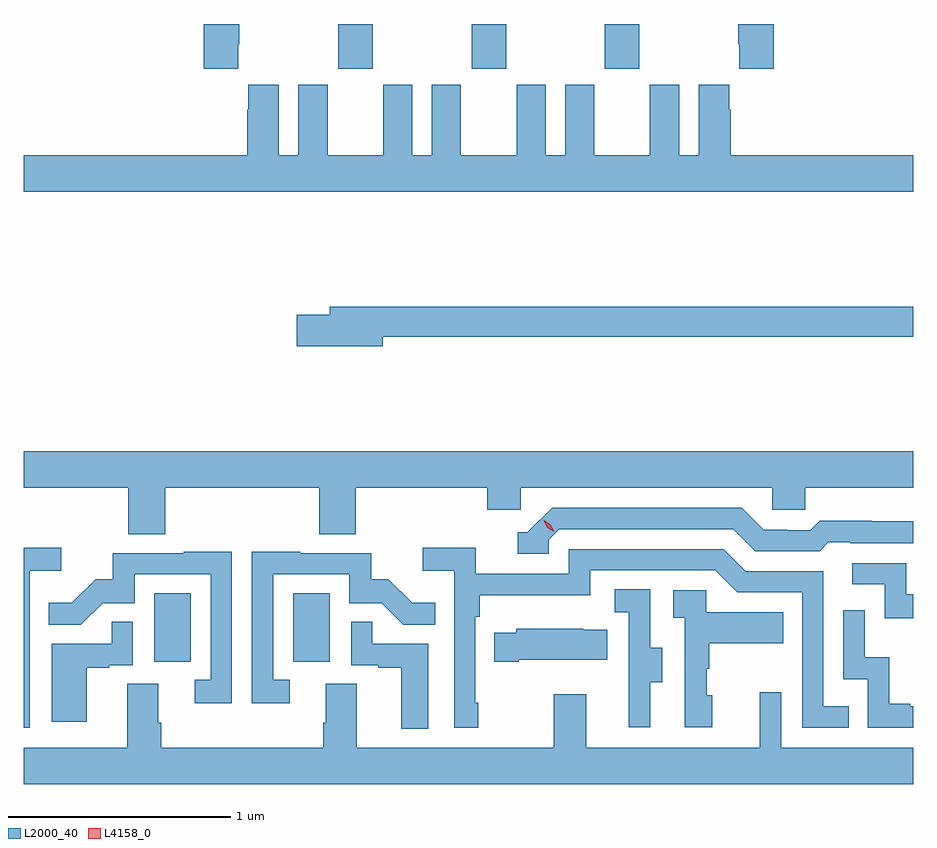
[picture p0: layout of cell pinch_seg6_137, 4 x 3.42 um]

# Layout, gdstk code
import gdstk
lib = gdstk.Library(unit=1e-6, precision=1e-09)
def R(c, l, rs):  # rectangles x0, y0, x1, y1
    for r in rs: c.add(gdstk.rectangle(r[:2], r[2:], *l))
def A(c, l, x, y, w, h, nx, ny, dx, dy):  # array of equal rectangles
    R(c, l, [(x+i*dx, y+j*dy, x+i*dx+w, y+j*dy+h) for i in range(nx) for j in range(ny)])
def P(c, l, *ps):  # polygons
    for p in ps: c.add(gdstk.Polygon(p, *l))
L2000_40 = (2000, 40)
L4158_0 = (4158, 0)

pinch_seg6_137 = lib.new_cell('pinch_seg6_137')
A(pinch_seg6_137, L2000_40, 986.479, 921.249, 0.155, 0.202, 3, 1, 0.6, 0)
R(pinch_seg6_137, L2000_40, [(985.652,918.582,985.816,918.889), (986.276,918.582,986.44,918.889)])
P(pinch_seg6_137, L2000_40, [(988.439,921.451),(988.279,921.451),(988.279,921.361),(988.283,921.361),(988.283,921.249),(988.439,921.249)],
  [(986.029,921.361),(986.034,921.361),(986.034,921.451),(985.874,921.451),(985.874,921.249),(986.029,921.249)],
  [(989.065,920.86),(988.244,920.86),(988.244,921.065),(988.237,921.065),(988.237,921.178),(988.1,921.178),(988.1,920.86),(988.012,920.86),(988.012,921.178),(987.881,921.178),(987.881,920.86),(987.631,920.86),(987.631,921.178),(987.5,921.178),(987.5,920.86),(987.412,920.86),(987.412,921.178),(987.281,921.178),(987.281,920.86),(987.031,920.86),(987.031,921.178),(986.9,921.178),(986.9,920.86),(986.812,920.86),(986.812,921.178),(986.681,921.178),(986.681,920.86),(986.431,920.86),(986.431,921.178),(986.3,921.178),(986.3,920.86),(986.212,920.86),(986.212,921.178),(986.075,921.178),(986.075,921.065),(986.069,921.065),(986.069,920.86),(985.065,920.86),(985.065,920.696),(989.065,920.696)],
  [(986.68,920.044),(989.065,920.044),(989.065,920.18),(986.441,920.18),(986.441,920.144),(986.292,920.144),(986.292,920.002),(986.68,920.002)],
  [(985.7,919.364),(986.393,919.364),(986.393,919.156),(986.558,919.156),(986.558,919.364),(987.149,919.364),(987.149,919.266),(987.3,919.266),(987.3,919.364),(988.431,919.364),(988.431,919.266),(988.581,919.266),(988.581,919.364),(989.065,919.364),(989.065,919.528),(985.065,919.528),(985.065,919.364),(985.535,919.364),(985.535,919.156),(985.7,919.156)],
  [(987.426,919.131),(987.474,919.179),(988.257,919.179),(988.356,919.08),(988.645,919.08),(988.684,919.119),(988.783,919.119),(988.783,919.116),(989.065,919.116),(989.065,919.213),(988.878,919.213),(988.878,919.216),(988.645,919.216),(988.603,919.173),(988.5,919.173),(988.5,919.176),(988.393,919.176),(988.294,919.275),(987.441,919.275),(987.33,919.164),(987.287,919.164),(987.287,919.068),(987.426,919.068)],
  [(985.092,918.992),(985.234,918.992),(985.234,919.094),(985.065,919.094),(985.065,918.285),(985.092,918.285)],
  [(987.109,918.397),(987.096,918.397),(987.096,918.785),(987.116,918.785),(987.116,918.881),(987.612,918.881),(987.612,918.993),(988.176,918.993),(988.275,918.894),(988.566,918.894),(988.566,918.285),(988.775,918.285),(988.775,918.381),(988.662,918.381),(988.662,918.99),(988.312,918.99),(988.213,919.089),(987.516,919.089),(987.516,918.978),(987.098,918.978),(987.098,919.094),(986.859,919.094),(986.859,918.992),(987,918.992),(987,918.285),(987.109,918.285)],
  [(986.001,919.076),(985.783,919.076),(985.783,919.071),(985.465,919.071),(985.465,918.954),(985.388,918.954),(985.281,918.847),(985.177,918.847),(985.177,918.748),(985.321,918.748),(985.419,918.846),(985.563,918.846),(985.563,918.975),(985.905,918.975),(985.905,918.501),(985.833,918.501),(985.833,918.396),(986.001,918.396)],
  [(986.26,918.501),(986.187,918.501),(986.187,918.975),(986.529,918.975),(986.529,918.846),(986.674,918.846),(986.772,918.748),(986.915,918.748),(986.915,918.847),(986.811,918.847),(986.704,918.954),(986.628,918.954),(986.628,919.071),(986.309,919.071),(986.309,919.076),(986.091,919.076),(986.091,918.396),(986.26,918.396)],
  [(989.065,918.885),(989.034,918.885),(989.034,919.026),(988.791,919.026),(988.791,918.93),(988.938,918.93),(988.938,918.777),(989.065,918.777)],
  [(987.883,918.49),(987.937,918.49),(987.937,918.645),(987.882,918.645),(987.882,918.908),(987.723,918.908),(987.723,918.805),(987.786,918.805),(987.786,918.501),(987.785,918.501),(987.785,918.288),(987.883,918.288)],
  [(988.162,918.432),(988.137,918.432),(988.137,918.551),(988.147,918.551),(988.147,918.665),(988.481,918.665),(988.481,918.805),(988.134,918.805),(988.134,918.903),(987.987,918.903),(987.987,918.779),(988.038,918.779),(988.038,918.288),(988.162,918.288)],
  [(989.065,918.381),(989.053,918.381),(989.053,918.394),(988.958,918.394),(988.958,918.602),(988.848,918.602),(988.848,918.814),(988.752,918.814),(988.752,918.504),(988.86,918.504),(988.86,918.285),(989.065,918.285)],
  [(986.884,918.663),(986.633,918.663),(986.633,918.761),(986.538,918.761),(986.538,918.567),(986.659,918.567),(986.659,918.555),(986.762,918.555),(986.762,918.281),(986.884,918.281)],
  [(985.348,918.555),(985.448,918.555),(985.448,918.567),(985.554,918.567),(985.554,918.761),(985.459,918.761),(985.459,918.663),(985.19,918.663),(985.19,918.312),(985.348,918.312)],
  [(987.292,918.59),(987.689,918.59),(987.689,918.727),(987.581,918.727),(987.581,918.73),(987.279,918.73),(987.279,918.712),(987.181,918.712),(987.181,918.583),(987.292,918.583)],
  [(989.065,918.196),(988.473,918.196),(988.473,918.445),(988.376,918.445),(988.376,918.196),(987.595,918.196),(987.595,918.436),(987.448,918.436),(987.448,918.196),(986.563,918.196),(986.563,918.482),(986.423,918.482),(986.423,918.308),(986.411,918.308),(986.411,918.196),(985.682,918.196),(985.682,918.308),(985.669,918.308),(985.669,918.482),(985.529,918.482),(985.529,918.196),(985.065,918.196),(985.065,918.032),(989.065,918.032)])
P(pinch_seg6_137, L4158_0, [(987.451,919.166),(987.42,919.185),(987.404,919.218),(987.404,919.218),(987.404,919.218),(987.435,919.199),(987.451,919.166),(987.451,919.166)])

lib.write_gds('pinch_seg6_137.gds')
